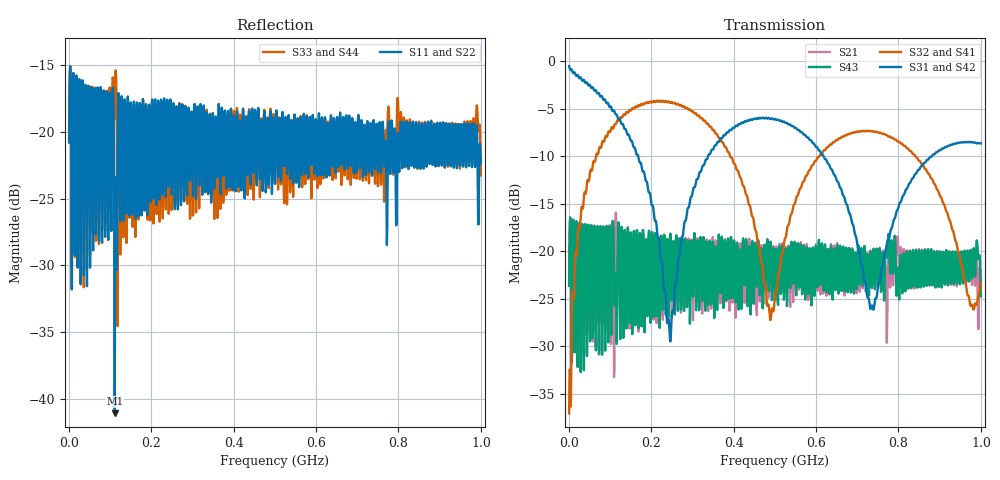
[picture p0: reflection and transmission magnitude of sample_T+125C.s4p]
! synthetic lab measurement T=125C
! synthetic measurement, noise -85.0 dB
# Hz S RI R 50
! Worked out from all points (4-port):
!   1201 points, 1 MHz to 1 GHz, reference 50 ohm
!   strongest paths, dB at 1 MHz, 250.8 MHz, 500.5 MHz, 750.2 MHz, 1 GHz:
!     S31: -0.5, -26.4, -6.1, -23.8, -8.7
!     S42: -0.5, -26.4, -6.1, -23.8, -8.7
!     S32: -37.1, -4.3, -24.6, -7.5, -23.3
!     S41: -37.1, -4.3, -24.7, -7.5, -23.3
!     S43: -23.6, -24.9, -25.2, -23.6, -24.8
!     S21: -23.6, -26.7, -24.8, -23.9, -23.1
!   lowest |S11| = -41.1 dB at 111.7 MHz (marker M1), VSWR 1.02, Z = 50.4 + j0.771 ohm
!   |S11| at or under -10 dB: start of sweep to end of sweep
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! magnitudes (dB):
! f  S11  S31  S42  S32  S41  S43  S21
! 1 MHz  -20.8  -0.5  -0.5  -37.1  -37.1  -23.6  -23.6
! 111.7 MHz  -41.1  -5.4  -5.4  -6.7  -6.7  -25.7  -21.3
! 244.1 MHz  -21.3  -28.0  -28.0  -4.3  -4.3  -22.4  -22.0
! 408.9 MHz  -18.5  -6.8  -6.8  -11.5  -11.5  -19.2  -19.1
! 492.2 MHz  -23.0  -6.0  -6.0  -26.3  -26.3  -23.5  -23.0
! 736.1 MHz  -23.3  -25.7  -25.7  -7.4  -7.4  -23.9  -23.9
! 1 GHz  -22.4  -8.7  -8.7  -23.3  -23.3  -24.8  -23.1
